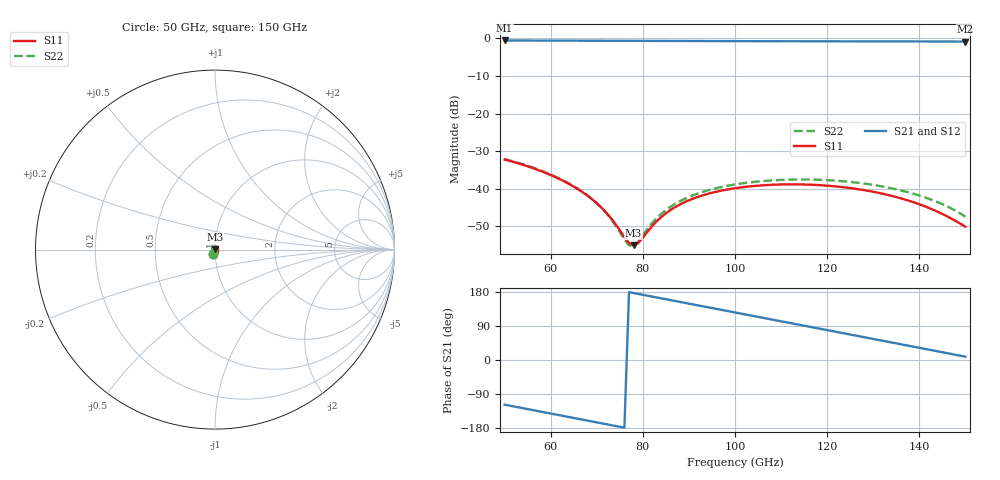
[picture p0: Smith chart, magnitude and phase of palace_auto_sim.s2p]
#  GHZ S DB R 50
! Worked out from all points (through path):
!   101 points, 50 GHz to 150 GHz, reference 50 ohm
!   highest |S21| = -0.54 dB at 50 GHz (marker M1); lowest = -0.8 dB at 150 GHz (marker M2)
!   group delay of S21, straight-line fit = 6.48 ps
!   lowest |S11| = -55.0 dB at 78 GHz (marker M3), VSWR 1.00, Z = 50 + j0.177 ohm
!   |S11| at or under -10 dB: start of sweep to end of sweep
!   |S22| runs from -55.3 to -32.1 dB; largest |S21 - S12| = 1.6e-13
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50  -32.22 -111.5  -0.54 -117.9  -0.54 -117.9  -32.10 -111.6
55  -34.03 -125.4  -0.55 -129.6  -0.55 -129.6  -33.90 -125.5
60  -36.35 -140.0  -0.57 -141.3  -0.57 -141.3  -36.21 -140.0
67  -40.99 -163.1  -0.60 -157.6  -0.60 -157.6  -40.90 -162.8
70  -43.85 -175.5  -0.61 -164.6  -0.61 -164.6  -43.84 -175.2
72  -46.28 173.8  -0.62 -169.3  -0.62 -169.3  -46.38 174.2
77  -54.43 113.5  -0.63 179.0  -0.63 179.0  -55.05 107.6
78  -55.05 88.9  -0.64 176.7  -0.64 176.7  -55.28 80.3
79  -54.41 65.1  -0.64 174.4  -0.64 174.4  -54.11 56.3
82  -49.97 22.7  -0.65 167.4  -0.65 167.4  -49.13 17.8
84  -47.52 8.5  -0.66 162.7  -0.66 162.7  -46.66 5.0
87  -44.89 -6.2  -0.67 155.7  -0.67 155.7  -44.03 -8.6
91  -42.57 -20.9  -0.68 146.4  -0.68 146.4  -41.69 -22.7
95  -41.06 -33.6  -0.70 137.1  -0.70 137.1  -40.14 -35.0
100  -39.87 -48.2  -0.71 125.4  -0.71 125.4  -38.86 -49.3
109  -38.90 -73.3  -0.74 104.5  -0.74 104.5  -37.72 -73.9
117  -38.95 -96.4  -0.76 85.9  -0.76 85.9  -37.57 -96.2
125  -39.81 -121.0  -0.77 67.2  -0.77 67.2  -38.18 -119.6
134  -41.89 -151.7  -0.79 46.2  -0.79 46.2  -39.89 -147.7
143  -45.59 171.3  -0.81 25.2  -0.81 25.2  -43.10 -178.7
147  -47.97 150.1  -0.82 15.8  -0.82 15.8  -45.29 165.5
150  -50.10 129.8  -0.83 8.8  -0.83 8.8  -47.44 151.9
